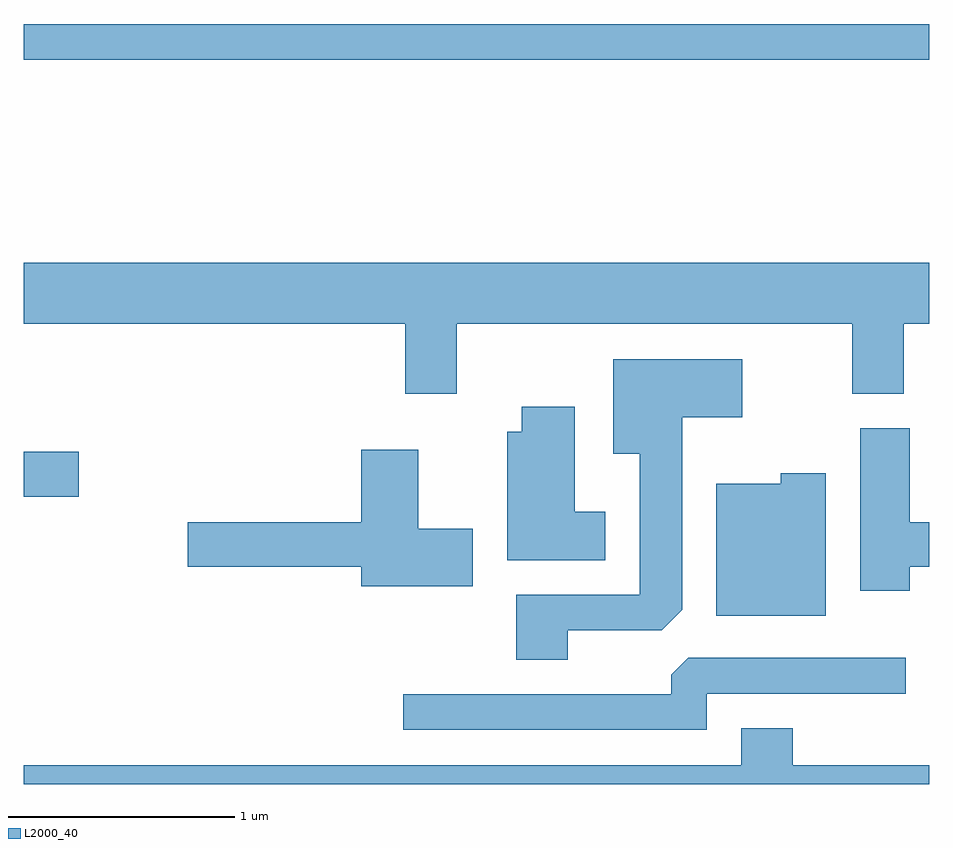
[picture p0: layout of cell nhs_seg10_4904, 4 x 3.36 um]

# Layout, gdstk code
import gdstk
lib = gdstk.Library(unit=1e-6, precision=1e-09)
def R(c, l, rs):  # rectangles x0, y0, x1, y1
    for r in rs: c.add(gdstk.rectangle(r[:2], r[2:], *l))
def P(c, l, *ps):  # polygons
    for p in ps: c.add(gdstk.Polygon(p, *l))
L2000_40 = (2000, 40)

nhs_seg10_4904 = lib.new_cell('nhs_seg10_4904')
R(nhs_seg10_4904, L2000_40, [(329.611,2139.791,329.854,2139.989), (329.611,2141.721,333.611,2141.879)])
P(nhs_seg10_4904, L2000_40, [(331.524,2140.556),(333.271,2140.556),(333.271,2140.246),(333.499,2140.246),(333.499,2140.556),(333.611,2140.556),(333.611,2140.824),(329.611,2140.824),(329.611,2140.556),(331.296,2140.556),(331.296,2140.246),(331.524,2140.246)],
  [(332.014,2139.201),(332.429,2139.201),(332.519,2139.292),(332.519,2140.141),(332.784,2140.141),(332.784,2140.399),(332.216,2140.399),(332.216,2139.981),(332.331,2139.981),(332.331,2139.359),(331.786,2139.359),(331.786,2139.071),(332.014,2139.071)],
  [(332.179,2139.724),(332.044,2139.724),(332.044,2140.189),(331.811,2140.189),(331.811,2140.079),(331.746,2140.079),(331.746,2139.511),(332.179,2139.511)],
  [(333.524,2139.481),(333.611,2139.481),(333.611,2139.679),(333.524,2139.679),(333.524,2140.094),(333.306,2140.094),(333.306,2139.376),(333.524,2139.376)],
  [(331.594,2139.649),(331.354,2139.649),(331.354,2139.999),(331.101,2139.999),(331.101,2139.679),(330.336,2139.679),(330.336,2139.481),(331.101,2139.481),(331.101,2139.396),(331.594,2139.396)],
  [(333.154,2139.894),(332.956,2139.894),(332.956,2139.849),(332.671,2139.849),(332.671,2139.266),(333.154,2139.266)],
  [(332.629,2138.921),(333.508,2138.921),(333.508,2139.079),(332.547,2139.079),(332.471,2139.004),(332.471,2138.919),(331.288,2138.919),(331.288,2138.761),(332.629,2138.761)],
  [(333.611,2138.604),(333.009,2138.604),(333.009,2138.769),(332.781,2138.769),(332.781,2138.604),(329.611,2138.604),(329.611,2138.522),(333.611,2138.522)])

lib.write_gds('nhs_seg10_4904.gds')
